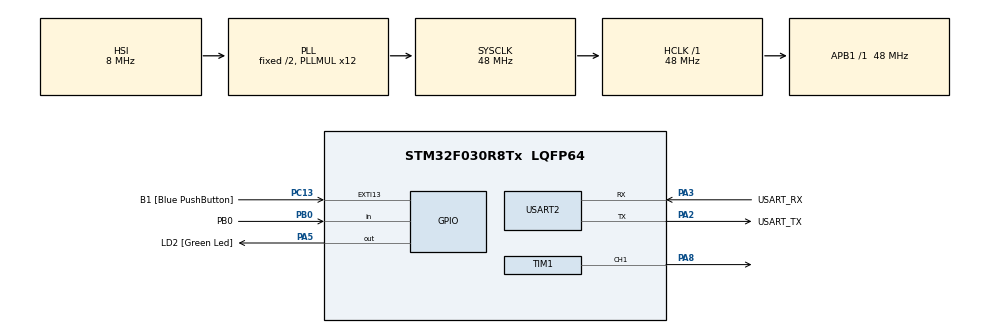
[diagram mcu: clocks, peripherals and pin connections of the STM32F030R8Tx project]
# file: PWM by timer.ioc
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Dma.Request0=TIM1_CH1
Dma.TIM1_CH1.0.Direction=DMA_MEMORY_TO_PERIPH
Dma.TIM1_CH1.0.Instance=DMA1_Channel2
Dma.TIM1_CH1.0.MemDataAlignment=DMA_MDATAALIGN_HALFWORD
Dma.TIM1_CH1.0.MemInc=DMA_MINC_ENABLE
Dma.TIM1_CH1.0.Mode=DMA_NORMAL
Dma.TIM1_CH1.0.PeriphDataAlignment=DMA_PDATAALIGN_HALFWORD
Dma.TIM1_CH1.0.PeriphInc=DMA_PINC_DISABLE
Dma.TIM1_CH1.0.Priority=DMA_PRIORITY_LOW
Mcu.Family=STM32F0
Mcu.Name=STM32F030R8Tx
Mcu.Package=LQFP64
NVIC.DMA1_Channel2_3_IRQn=true\:0\:0\:false\:false\:true\:false\:true\:true
NVIC.EXTI4_15_IRQn=true\:0\:0\:false\:false\:true\:true\:true\:true
PA13.GPIO_Label=TMS
PA13.Mode=Serial_Wire
PA13.Signal=SYS_SWDIO
PA14.GPIO_Label=TCK
PA14.Mode=Serial_Wire
PA14.Signal=SYS_SWCLK
PA2.GPIO_Label=USART_TX
PA2.GPIO_Mode=GPIO_MODE_AF_PP
PA2.GPIO_PuPd=GPIO_NOPULL
PA2.GPIO_Speed=GPIO_SPEED_FREQ_LOW
PA2.Mode=Asynchronous
PA2.Signal=USART2_TX
PA3.GPIO_Label=USART_RX
PA3.GPIO_Mode=GPIO_MODE_AF_PP
PA3.GPIO_PuPd=GPIO_NOPULL
PA3.GPIO_Speed=GPIO_SPEED_FREQ_LOW
PA3.Mode=Asynchronous
PA3.Signal=USART2_RX
PA5.GPIO_Label=LD2 [Green Led]
PA5.GPIO_Mode=GPIO_MODE_OUTPUT_PP
PA5.GPIO_PuPd=GPIO_NOPULL
PA5.GPIO_Speed=GPIO_SPEED_FREQ_LOW
PA5.Signal=GPIO_Output
PA8.Signal=S_TIM1_CH1
PB0.GPIO_Label=PB0
PB0.Signal=GPIO_Input
PC13.GPIO_Label=B1 [Blue PushButton]
PC13.GPIO_ModeDefaultEXTI=GPIO_MODE_IT_FALLING
PC13.Signal=GPXTI13
PC14-OSC32_IN.Mode=LSE-External-Oscillator
PC14-OSC32_IN.Signal=RCC_OSC32_IN
PC15-OSC32_OUT.Mode=LSE-External-Oscillator
PC15-OSC32_OUT.Signal=RCC_OSC32_OUT
PF0-OSC_IN.Mode=HSE-External-Clock-Source
PF0-OSC_IN.Signal=RCC_OSC_IN
PF1-OSC_OUT.Signal=RCC_OSC_OUT
ProjectManager.HeapSize=0x200
ProjectManager.StackSize=0x400
ProjectManager.TargetToolchain=STM32CubeIDE
RCC.AHBFreq_Value=48000000
RCC.APB1Freq_Value=48000000
RCC.APB1TimFreq_Value=48000000
RCC.HCLKFreq_Value=48000000
RCC.PLLMUL=RCC_PLL_MUL12
RCC.SYSCLKFreq_VALUE=48000000
RCC.SYSCLKSource=RCC_SYSCLKSOURCE_PLLCLK
SH.S_TIM1_CH1.0=TIM1_CH1,PWM Generation1 CH1
TIM1.Channel-PWM\ Generation1\ CH1=TIM_CHANNEL_1
TIM1.Period=100
TIM1.Prescaler=(48000-1)
TIM1.Pulse-PWM\ Generation1\ CH1=0
USART2.VirtualMode-Asynchronous=VM_ASYNC
VP_TIM1_VS_ClockSourceINT.Mode=Internal
board=NUCLEO-F030R8

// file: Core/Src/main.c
/* USER CODE BEGIN Header */
/**
  ******************************************************************************
  * @file           : main.c
  * @brief          : Main program body
  ******************************************************************************
  * @attention
  *
  * Copyright (c) 2025 STMicroelectronics.
  * All rights reserved.
  *
  * This software is licensed under terms that can be found in the LICENSE file
  * in the root directory of this software component.
  * If no LICENSE file comes with this software, it is provided AS-IS.
  *
  ******************************************************************************
  */
/* USER CODE END Header */
#include "main.h"

TIM_HandleTypeDef htim1;
DMA_HandleTypeDef hdma_tim1_ch1;

UART_HandleTypeDef huart2;

/* USER CODE BEGIN PV */
uint8_t sauron_eye; // we will use this global variable for visualisation in CubeMonitor
char uart_buffer[50];
int uart_buffer_length;

/* USER CODE END PV */

void SystemClock_Config(void);
static void MX_GPIO_Init(void);
static void MX_DMA_Init(void);
static void MX_USART2_UART_Init(void);
static void MX_TIM1_Init(void);

int main(void)
{

  /* MCU Configuration--------------------------------------------------------*/

  /* Reset of all peripherals, Initializes the Flash interface and the Systick. */
  HAL_Init();

  /* Configure the system clock */
  SystemClock_Config();

  /* Initialize all configured peripherals */
  MX_GPIO_Init();
  MX_DMA_Init();
  MX_USART2_UART_Init();
  MX_TIM1_Init();
  /* USER CODE BEGIN 2 */
  	  uart_buffer_length = sprintf(uart_buffer, "Serial started at %d baud rate.\r\n", huart2.Init.BaudRate);
  	  HAL_UART_Transmit(&huart2, &uart_buffer, uart_buffer_length, 100);

  	  TIM1->CCR1 = 5; // setup initial pulse width
  	  HAL_TIM_PWM_Start(&htim1, TIM_CHANNEL_1); // start timer in PWM mode
  /* USER CODE END 2 */

  /* Infinite loop */
  while (1)
  {

    /* USER CODE BEGIN 3 */
	  /* On the hardware level I put jump wire from TIM1 output pin PA8 to PB0
	   * now we can read PB0 to check PWM generated by timer */
	  sauron_eye = (GPIOB->IDR & (1 << 0)) ? 1 : 0; // read PB0 pin
	  // sauron_eye = HAL_GPIO_ReadPin(PB0_GPIO_Port, PB0_Pin); same via HAL

	  // drive LED with PWM signal
	  if (sauron_eye)
	  {
		  HAL_GPIO_WritePin(LD2_GPIO_Port, LD2_Pin, 1);
	  } else {
		  HAL_GPIO_WritePin(LD2_GPIO_Port, LD2_Pin, 0);
	  }

  }
  /* USER CODE END 3 */
}

void SystemClock_Config(void)
{
  RCC_OscInitTypeDef RCC_OscInitStruct = {0};
  RCC_ClkInitTypeDef RCC_ClkInitStruct = {0};

  /** Initializes the RCC Oscillators according to the specified parameters
  * in the RCC_OscInitTypeDef structure.
  */
  RCC_OscInitStruct.OscillatorType = RCC_OSCILLATORTYPE_HSI;
  RCC_OscInitStruct.HSIState = RCC_HSI_ON;
  RCC_OscInitStruct.HSICalibrationValue = RCC_HSICALIBRATION_DEFAULT;
  RCC_OscInitStruct.PLL.PLLState = RCC_PLL_ON;
  RCC_OscInitStruct.PLL.PLLSource = RCC_PLLSOURCE_HSI;
  RCC_OscInitStruct.PLL.PLLMUL = RCC_PLL_MUL12;
  RCC_OscInitStruct.PLL.PREDIV = RCC_PREDIV_DIV1;
  if (HAL_RCC_OscConfig(&RCC_OscInitStruct) != HAL_OK)
  {
    Error_Handler();
  }

  /** Initializes the CPU, AHB and APB buses clocks
  */
  RCC_ClkInitStruct.ClockType = RCC_CLOCKTYPE_HCLK|RCC_CLOCKTYPE_SYSCLK
                              |RCC_CLOCKTYPE_PCLK1;
  RCC_ClkInitStruct.SYSCLKSource = RCC_SYSCLKSOURCE_PLLCLK;
  RCC_ClkInitStruct.AHBCLKDivider = RCC_SYSCLK_DIV1;
  RCC_ClkInitStruct.APB1CLKDivider = RCC_HCLK_DIV1;

  if (HAL_RCC_ClockConfig(&RCC_ClkInitStruct, FLASH_LATENCY_1) != HAL_OK)
  {
    Error_Handler();
  }
}

static void MX_TIM1_Init(void)
{

  TIM_ClockConfigTypeDef sClockSourceConfig = {0};
  TIM_MasterConfigTypeDef sMasterConfig = {0};
  TIM_OC_InitTypeDef sConfigOC = {0};
  TIM_BreakDeadTimeConfigTypeDef sBreakDeadTimeConfig = {0};

  htim1.Instance = TIM1;
  htim1.Init.Prescaler = (48000-1);
  htim1.Init.CounterMode = TIM_COUNTERMODE_UP;
  htim1.Init.Period = 10;
  htim1.Init.ClockDivision = TIM_CLOCKDIVISION_DIV1;
  htim1.Init.RepetitionCounter = 0;
  htim1.Init.AutoReloadPreload = TIM_AUTORELOAD_PRELOAD_DISABLE;
  if (HAL_TIM_Base_Init(&htim1) != HAL_OK)
  {
    Error_Handler();
  }
  sClockSourceConfig.ClockSource = TIM_CLOCKSOURCE_INTERNAL;
  if (HAL_TIM_ConfigClockSource(&htim1, &sClockSourceConfig) != HAL_OK)
  {
    Error_Handler();
  }
  if (HAL_TIM_PWM_Init(&htim1) != HAL_OK)
  {
    Error_Handler();
  }
  sMasterConfig.MasterOutputTrigger = TIM_TRGO_RESET;
  sMasterConfig.MasterSlaveMode = TIM_MASTERSLAVEMODE_DISABLE;
  if (HAL_TIMEx_MasterConfigSynchronization(&htim1, &sMasterConfig) != HAL_OK)
  {
    Error_Handler();
  }
  sConfigOC.OCMode = TIM_OCMODE_PWM1;
  sConfigOC.Pulse = 0;
  sConfigOC.OCPolarity = TIM_OCPOLARITY_HIGH;
  sConfigOC.OCNPolarity = TIM_OCNPOLARITY_HIGH;
  sConfigOC.OCFastMode = TIM_OCFAST_DISABLE;
  sConfigOC.OCIdleState = TIM_OCIDLESTATE_RESET;
  sConfigOC.OCNIdleState = TIM_OCNIDLESTATE_RESET;
  if (HAL_TIM_PWM_ConfigChannel(&htim1, &sConfigOC, TIM_CHANNEL_1) != HAL_OK)
  {
    Error_Handler();
  }
  sBreakDeadTimeConfig.OffStateRunMode = TIM_OSSR_DISABLE;
  sBreakDeadTimeConfig.OffStateIDLEMode = TIM_OSSI_DISABLE;
  sBreakDeadTimeConfig.LockLevel = TIM_LOCKLEVEL_OFF;
  sBreakDeadTimeConfig.DeadTime = 0;
  sBreakDeadTimeConfig.BreakState = TIM_BREAK_DISABLE;
  sBreakDeadTimeConfig.BreakPolarity = TIM_BREAKPOLARITY_HIGH;
  sBreakDeadTimeConfig.AutomaticOutput = TIM_AUTOMATICOUTPUT_DISABLE;
  if (HAL_TIMEx_ConfigBreakDeadTime(&htim1, &sBreakDeadTimeConfig) != HAL_OK)
  {
    Error_Handler();
  }
  HAL_TIM_MspPostInit(&htim1);

}

static void MX_USART2_UART_Init(void)
{

  huart2.Instance = USART2;
  huart2.Init.BaudRate = 38400;
  huart2.Init.WordLength = UART_WORDLENGTH_8B;
  huart2.Init.StopBits = UART_STOPBITS_1;
  huart2.Init.Parity = UART_PARITY_NONE;
  huart2.Init.Mode = UART_MODE_TX_RX;
  huart2.Init.HwFlowCtl = UART_HWCONTROL_NONE;
  huart2.Init.OverSampling = UART_OVERSAMPLING_16;
  huart2.Init.OneBitSampling = UART_ONE_BIT_SAMPLE_DISABLE;
  huart2.AdvancedInit.AdvFeatureInit = UART_ADVFEATURE_NO_INIT;
  if (HAL_UART_Init(&huart2) != HAL_OK)
  {
    Error_Handler();
  }

}

static void MX_DMA_Init(void)
{

  /* DMA controller clock enable */
  __HAL_RCC_DMA1_CLK_ENABLE();

  /* DMA interrupt init */
  /* DMA1_Channel2_3_IRQn interrupt configuration */
  HAL_NVIC_SetPriority(DMA1_Channel2_3_IRQn, 0, 0);
  HAL_NVIC_EnableIRQ(DMA1_Channel2_3_IRQn);

}

static void MX_GPIO_Init(void)
{
  GPIO_InitTypeDef GPIO_InitStruct = {0};

  /* GPIO Ports Clock Enable */
  __HAL_RCC_GPIOC_CLK_ENABLE();
  __HAL_RCC_GPIOF_CLK_ENABLE();
  __HAL_RCC_GPIOA_CLK_ENABLE();
  __HAL_RCC_GPIOB_CLK_ENABLE();

  /*Configure GPIO pin Output Level */
  HAL_GPIO_WritePin(LD2_GPIO_Port, LD2_Pin, GPIO_PIN_RESET);

  /*Configure GPIO pin : B1_Pin */
  GPIO_InitStruct.Pin = B1_Pin;
  GPIO_InitStruct.Mode = GPIO_MODE_IT_FALLING;
  GPIO_InitStruct.Pull = GPIO_NOPULL;
  HAL_GPIO_Init(B1_GPIO_Port, &GPIO_InitStruct);

  /*Configure GPIO pin : LD2_Pin */
  GPIO_InitStruct.Pin = LD2_Pin;
  GPIO_InitStruct.Mode = GPIO_MODE_OUTPUT_PP;
  GPIO_InitStruct.Pull = GPIO_NOPULL;
  GPIO_InitStruct.Speed = GPIO_SPEED_FREQ_LOW;
  HAL_GPIO_Init(LD2_GPIO_Port, &GPIO_InitStruct);

  /*Configure GPIO pin : PB0_Pin */
  GPIO_InitStruct.Pin = PB0_Pin;
  GPIO_InitStruct.Mode = GPIO_MODE_INPUT;
  GPIO_InitStruct.Pull = GPIO_NOPULL;
  HAL_GPIO_Init(PB0_GPIO_Port, &GPIO_InitStruct);

  /* EXTI interrupt init*/
  HAL_NVIC_SetPriority(EXTI4_15_IRQn, 0, 0);
  HAL_NVIC_EnableIRQ(EXTI4_15_IRQn);

}

/* USER CODE BEGIN 4 */

void HAL_GPIO_EXTI_Callback(uint16_t GPIO_Pin)
/* Blue button causes interruption
 * I will gradually change PWM pulse with */
{
	// Good practice to check that interruption caused our blue button.
	if(GPIO_Pin == B1_Pin)
	{
		if (TIM1->CCR1 < htim1.Init.Period)
		{
			TIM1->CCR1 += 1; // increase pulse width
		}
		else
		{
			TIM1->CCR1 = 0; // reset pulse with
		}

		uart_buffer_length = sprintf(uart_buffer, "Pulse with set to %d \r\n",TIM1->CCR1);
		HAL_UART_Transmit(&huart2, &uart_buffer, uart_buffer_length, 100);
	}
}

/* USER CODE END 4 */

void Error_Handler(void)
{
  __disable_irq();
  while (1)
  {
  }
}
